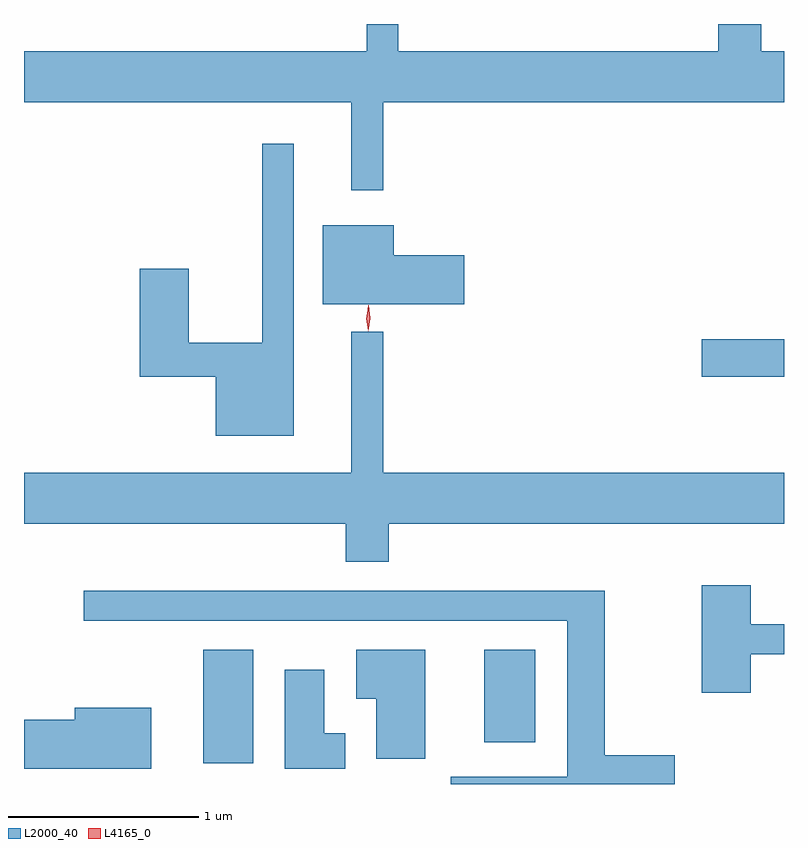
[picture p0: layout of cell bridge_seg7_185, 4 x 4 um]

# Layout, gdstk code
import gdstk
lib = gdstk.Library(unit=1e-6, precision=1e-09)
def R(c, l, rs):  # rectangles x0, y0, x1, y1
    for r in rs: c.add(gdstk.rectangle(r[:2], r[2:], *l))
def P(c, l, *ps):  # polygons
    for p in ps: c.add(gdstk.Polygon(p, *l))
L2000_40 = (2000, 40)
L4165_0 = (4165, 0)

bridge_seg7_185 = lib.new_cell('bridge_seg7_185')
R(bridge_seg7_185, L2000_40, [(1500.611,1681.976,1500.874,1682.574), (1502.091,1682.086,1502.359,1682.574), (1503.236,1684.011,1503.668,1684.209)])
P(bridge_seg7_185, L2000_40, [(1501.559,1685.456),(1503.668,1685.456),(1503.668,1685.724),(1503.549,1685.724),(1503.549,1685.867),(1503.321,1685.867),(1503.321,1685.724),(1501.639,1685.724),(1501.639,1685.867),(1501.471,1685.867),(1501.471,1685.724),(1499.668,1685.724),(1499.668,1685.456),(1501.391,1685.456),(1501.391,1684.993),(1501.559,1684.993)],
  [(1501.089,1685.238),(1500.921,1685.238),(1500.921,1684.189),(1500.534,1684.189),(1500.534,1684.579),(1500.276,1684.579),(1500.276,1684.011),(1500.676,1684.011),(1500.676,1683.701),(1501.089,1683.701)],
  [(1501.984,1684.649),(1501.614,1684.649),(1501.614,1684.809),(1501.241,1684.809),(1501.241,1684.391),(1501.984,1684.391)],
  [(1501.589,1683.236),(1503.668,1683.236),(1503.668,1683.504),(1501.559,1683.504),(1501.559,1684.248),(1501.391,1684.248),(1501.391,1683.504),(1499.668,1683.504),(1499.668,1683.236),(1501.361,1683.236),(1501.361,1683.036),(1501.589,1683.036)],
  [(1503.494,1682.551),(1503.668,1682.551),(1503.668,1682.709),(1503.494,1682.709),(1503.494,1682.914),(1503.236,1682.914),(1503.236,1682.346),(1503.494,1682.346)],
  [(1503.094,1682.019),(1502.724,1682.019),(1502.724,1682.884),(1499.983,1682.884),(1499.983,1682.726),(1502.526,1682.726),(1502.526,1681.904),(1501.913,1681.904),(1501.913,1681.867),(1503.094,1681.867)],
  [(1501.779,1682.574),(1501.416,1682.574),(1501.416,1682.316),(1501.521,1682.316),(1501.521,1682.001),(1501.779,1682.001)],
  [(1501.359,1682.134),(1501.249,1682.134),(1501.249,1682.469),(1501.041,1682.469),(1501.041,1681.946),(1501.359,1681.946)],
  [(1500.339,1682.269),(1499.936,1682.269),(1499.936,1682.204),(1499.668,1682.204),(1499.668,1681.946),(1500.339,1681.946)])
P(bridge_seg7_185, L4165_0, [(1501.48,1684.25),(1501.48,1684.25),(1501.471,1684.318),(1501.481,1684.386),(1501.482,1684.386),(1501.482,1684.386),(1501.491,1684.318),(1501.481,1684.25)],
  [(1501.48,1684.253),(1501.48,1684.253),(1501.47,1684.316),(1501.479,1684.379),(1501.48,1684.38),(1501.48,1684.379),(1501.49,1684.316),(1501.481,1684.253)])

lib.write_gds('bridge_seg7_185.gds')
